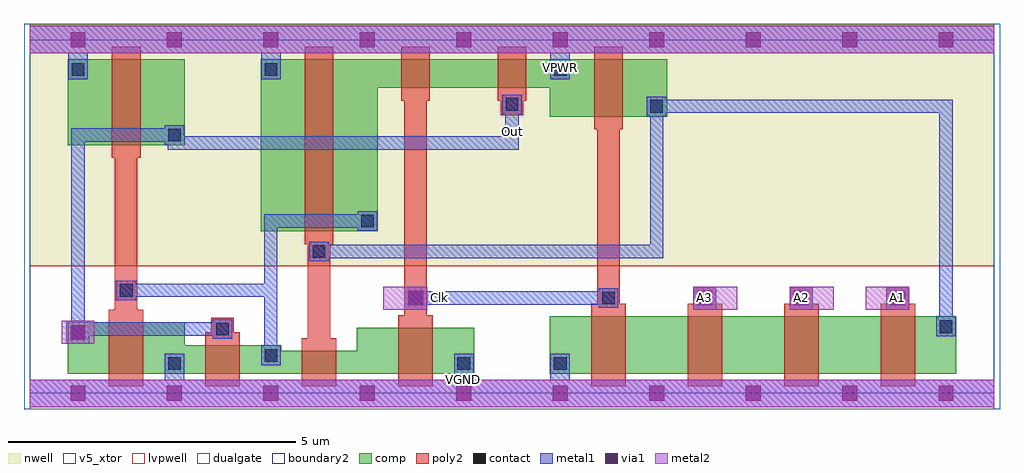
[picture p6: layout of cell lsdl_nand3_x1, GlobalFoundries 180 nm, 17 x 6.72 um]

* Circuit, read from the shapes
.subckt lsdl_nand3_x1 A1 A2 A3 Clk Out VGND VPWR
XM1 VGND n1 Out VSUBS nfet_05v0 w=0.9u l=0.6u
XM2 n1 Out VGND VSUBS nfet_05v0 w=0.5u l=0.6u
XM3 n2 n3 n1 VSUBS nfet_05v0 w=0.4u l=0.6u
XM4 VGND Clk n2 VSUBS nfet_05v0 w=0.8u l=0.6u
XM5 n4 Clk VGND VSUBS nfet_05v0 w=1u l=0.6u
XM6 n5 A3 n4 VSUBS nfet_05v0 w=1u l=0.6u
XM7 n6 A2 n5 VSUBS nfet_05v0 w=1u l=0.6u
XM8 n3 A1 n6 VSUBS nfet_05v0 w=1u l=0.6u
XM9 Out n1 VPWR n7 pfet_05v0 w=1.5u l=0.5u
XM10 n1 n3 VPWR n7 pfet_05v0 w=3u l=0.5u
XM11 n8 Clk n1 n7 pfet_05v0 w=0.5u l=0.5u
XM12 VPWR Out n8 n7 pfet_05v0 w=0.5u l=0.5u
XM13 n3 Clk VPWR n7 pfet_05v0 w=1u l=0.5u
.ends

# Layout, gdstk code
import gdstk
lib = gdstk.Library(unit=1e-6, precision=1e-09)
def R(c, l, rs):  # rectangles x0, y0, x1, y1
    for r in rs: c.add(gdstk.rectangle(r[:2], r[2:], *l))
def A(c, l, x, y, w, h, nx, ny, dx, dy):  # array of equal rectangles
    R(c, l, [(x+i*dx, y+j*dy, x+i*dx+w, y+j*dy+h) for i in range(nx) for j in range(ny)])
def P(c, l, *ps):  # polygons
    for p in ps: c.add(gdstk.Polygon(p, *l))
nwell = (21, 0)
comp = (22, 0)
poly2 = (30, 0)
contact = (33, 0)
metal1 = (34, 0)
via1 = (35, 0)
metal2 = (36, 0)
dualgate = (55, 0)
boundary2 = (63, 0)
v5_xtor = (112, 1)
lvpwell = (204, 0)

lsdl_nand3_x1 = lib.new_cell('lsdl_nand3_x1')
R(lsdl_nand3_x1, nwell, [(0,2.22,16.8,6.42)])
R(lsdl_nand3_x1, comp, [(9.06,0.34,16.14,1.34), (0.66,4.32,2.7,5.82)])
P(lsdl_nand3_x1, comp, [(0.66,0.34),(0.66,1.24),(2.7,1.24),(2.7,0.84),(4.38,0.84),(4.38,0.74),(5.7,0.74),(5.7,1.14),(7.74,1.14),(7.74,0.34)],
  [(4.02,2.82),(4.02,5.82),(11.1,5.82),(11.1,4.82),(9.06,4.82),(9.06,5.32),(6.06,5.32),(6.06,2.82)])
P(lsdl_nand3_x1, poly2, [(3.06,0.12),(3.06,1.06),(3.165,1.06),(3.165,1.315),(3.555,1.315),(3.555,1.06),(3.66,1.06),(3.66,0.12)],
  [(11.46,0.12),(11.46,1.56),(11.565,1.56),(11.565,1.855),(11.955,1.855),(11.955,1.56),(12.06,1.56),(12.06,0.12)],
  [(13.14,0.12),(13.14,1.56),(13.245,1.56),(13.245,1.855),(13.635,1.855),(13.635,1.56),(13.74,1.56),(13.74,0.12)],
  [(14.82,0.12),(14.82,1.56),(14.925,1.56),(14.925,1.855),(15.315,1.855),(15.315,1.56),(15.42,1.56),(15.42,0.12)],
  [(1.38,0.12),(1.38,1.46),(1.485,1.46),(1.485,4.1),(1.43,4.1),(1.43,6.04),(1.93,6.04),(1.93,4.1),(1.875,4.1),(1.875,1.46),(1.98,1.46),(1.98,0.12)],
  [(4.74,0.12),(4.74,0.96),(4.845,0.96),(4.845,2.6),(4.79,2.6),(4.79,6.04),(5.29,6.04),(5.29,2.6),(5.235,2.6),(5.235,0.96),(5.34,0.96),(5.34,0.12)],
  [(6.42,0.12),(6.42,1.36),(6.525,1.36),(6.525,5.1),(6.47,5.1),(6.47,6.04),(6.97,6.04),(6.97,5.1),(6.915,5.1),(6.915,1.36),(7.02,1.36),(7.02,0.12)],
  [(8.205,4.84),(8.205,5.1),(8.15,5.1),(8.15,6.04),(8.65,6.04),(8.65,5.1),(8.595,5.1),(8.595,4.84)],
  [(9.78,0.12),(9.78,1.56),(9.885,1.56),(9.885,4.6),(9.83,4.6),(9.83,6.04),(10.33,6.04),(10.33,4.6),(10.275,4.6),(10.275,1.56),(10.38,1.56),(10.38,0.12)])
A(lsdl_nand3_x1, contact, 9.97, 1.55, 0.22, 0.22, 4, 1, 1.68, 0)
R(lsdl_nand3_x1, contact, [(2.41,0.41,2.63,0.63), (7.45,0.41,7.67,0.63), (9.13,0.41,9.35,0.63), (4.09,0.55,4.31,0.77), (0.73,0.95,0.95,1.17), (3.25,1.01,3.47,1.23), (15.85,1.05,16.07,1.27), (6.61,1.55,6.83,1.77), (1.57,1.685,1.79,1.905), (4.93,2.36,5.15,2.58), (5.77,2.89,5.99,3.11), (2.41,4.39,2.63,4.61), (10.81,4.89,11.03,5.11), (8.29,4.925,8.51,5.145), (0.73,5.53,0.95,5.75), (4.09,5.53,4.31,5.75), (9.13,5.53,9.35,5.75)])
A(lsdl_nand3_x1, metal1, 11.56, 1.46, 0.4, 0.4, 3, 1, 1.68, 0)
P(lsdl_nand3_x1, metal1, [(0,-0.24),(0,0.24),(2.35,0.24),(2.35,0.69),(2.69,0.69),(2.69,0.24),(7.39,0.24),(7.39,0.69),(7.73,0.69),(7.73,0.24),(9.07,0.24),(9.07,0.69),(9.41,0.69),(9.41,0.24),(16.8,0.24),(16.8,-0.24)],
  [(6.52,1.46),(6.52,1.86),(6.92,1.86),(6.92,1.775),(9.91,1.775),(9.91,1.83),(10.25,1.83),(10.25,1.49),(9.91,1.49),(9.91,1.545),(6.92,1.545),(6.92,1.46)],
  [(4.03,0.49),(4.03,0.83),(4.085,0.83),(4.085,1.68),(1.85,1.68),(1.85,1.625),(1.51,1.625),(1.51,1.965),(1.85,1.965),(1.85,1.91),(4.085,1.91),(4.085,3.115),(5.71,3.115),(5.71,3.17),(6.05,3.17),(6.05,2.83),(5.71,2.83),(5.71,2.885),(4.315,2.885),(4.315,0.83),(4.37,0.83),(4.37,0.49)],
  [(15.79,0.99),(15.79,1.33),(15.845,1.33),(15.845,4.885),(11.09,4.885),(11.09,4.83),(11.035,4.83),(11.035,2.355),(5.21,2.355),(5.21,2.3),(4.87,2.3),(4.87,2.64),(5.21,2.64),(5.21,2.585),(10.805,2.585),(10.805,4.83),(10.75,4.83),(10.75,5.17),(11.09,5.17),(11.09,5.115),(16.075,5.115),(16.075,1.33),(16.13,1.33),(16.13,0.99)],
  [(0.64,0.86),(0.64,1.26),(0.725,1.26),(0.725,4.615),(2.35,4.615),(2.35,4.67),(2.69,4.67),(2.69,4.475),(8.285,4.475),(8.285,4.865),(8.23,4.865),(8.23,5.205),(8.57,5.205),(8.57,4.865),(8.515,4.865),(8.515,4.245),(2.405,4.245),(2.405,4.33),(2.35,4.33),(2.35,4.385),(0.955,4.385),(0.955,1.26),(1.04,1.26),(1.04,1.235),(3.19,1.235),(3.19,1.29),(3.53,1.29),(3.53,0.95),(3.19,0.95),(3.19,1.005),(1.04,1.005),(1.04,0.86)],
  [(0.67,5.47),(0.67,5.92),(0,5.92),(0,6.4),(16.8,6.4),(16.8,5.92),(9.41,5.92),(9.41,5.47),(9.07,5.47),(9.07,5.92),(4.37,5.92),(4.37,5.47),(4.03,5.47),(4.03,5.92),(1.01,5.92),(1.01,5.47)])
A(lsdl_nand3_x1, via1, 0.71, -0.13, 0.26, 0.26, 10, 2, 1.68, 6.16)
A(lsdl_nand3_x1, via1, 11.63, 1.53, 0.26, 0.26, 3, 1, 1.68, 0)
R(lsdl_nand3_x1, via1, [(0.71,0.93,0.97,1.19), (6.59,1.53,6.85,1.79)])
R(lsdl_nand3_x1, metal2, [(0,-0.24,16.8,0.24), (0.56,0.86,1.12,1.26), (6.16,1.46,6.92,1.86), (11.56,1.46,12.32,1.86), (13.24,1.46,14,1.86), (14.56,1.46,15.32,1.86), (0,5.92,16.8,6.4)])
R(lsdl_nand3_x1, dualgate, [(0,-0.28,16.8,6.44)])
R(lsdl_nand3_x1, boundary2, [(0,0,16.8,6.16)])
R(lsdl_nand3_x1, v5_xtor, [(-0.1,-0.28,16.9,6.44)])
R(lsdl_nand3_x1, lvpwell, [(0,0,16.8,2.22)])
lsdl_nand3_x1.add(gdstk.Label('A1', (15.12,1.662), layer=34, texttype=0))
lsdl_nand3_x1.add(gdstk.Label('A2', (13.44,1.662), layer=34, texttype=0))
lsdl_nand3_x1.add(gdstk.Label('A3', (11.76,1.662), layer=34, texttype=0))
lsdl_nand3_x1.add(gdstk.Label('Clk', (7.14,1.662), layer=34, texttype=0))
lsdl_nand3_x1.add(gdstk.Label('Out', (8.4,4.566), layer=34, texttype=0))
lsdl_nand3_x1.add(gdstk.Label('VPWR', (9.24,5.676), layer=34, texttype=0))
lsdl_nand3_x1.add(gdstk.Label('VGND', (7.56,0.244), layer=34, texttype=0))

lib.write_gds('lsdl_nand3_x1.gds')
